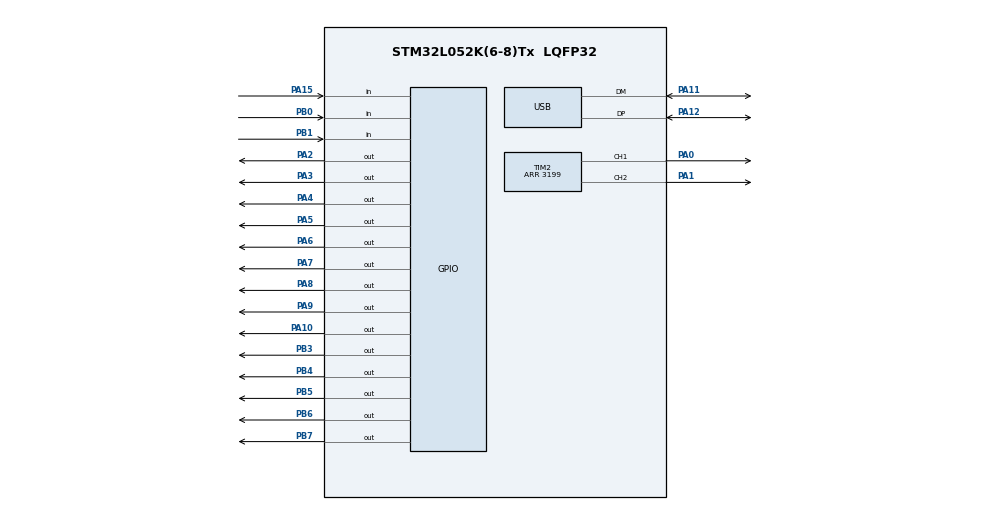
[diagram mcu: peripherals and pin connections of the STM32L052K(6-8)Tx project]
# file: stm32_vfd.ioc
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Mcu.Family=STM32L0
USB_DEVICE.CLASS_NAME_FS=CDC
NVIC.USB_IRQn=true\:0\:0\:false\:false\:true\:false\:true
VP_RTC_VS_RTC_Activate.Mode=RTC_Enabled
PA11.Mode=Device
TIM2.Channel-PWM\ Generation2\ CH2=TIM_CHANNEL_2
RCC.SYSCLKSource=RCC_SYSCLKSOURCE_PLLCLK
ProjectManager.StackSize=0x400
NVIC.RTC_IRQn=true\:0\:0\:false\:false\:true\:true\:true
RCC.HSI48MClockSelection=RCC_USBCLKSOURCE_HSI48
PA12.Signal=USB_DP
TIM21.Period=63991
RCC.PLLDIV=RCC_PLLDIV_3
RCC.HCLKFreq_Value=32000000
RCC.APB2TimFreq_Value=32000000
PB6.Signal=GPIO_Output
TIM21.Channel-Output\ Compare1\ No\ Output=TIM_CHANNEL_1
RCC.AHBFreq_Value=32000000
RCC.RTCClockSelection=RCC_RTCCLKSOURCE_LSE
RCC.PLLMUL=RCC_PLLMUL_6
PC14-OSC32_IN.Mode=LSE-External-Oscillator
RCC.RTCClockSelectionVirtual=RCC_RTCCLKSOURCE_LSE
PA14.Mode=Serial_Wire
PB7.Signal=GPIO_Output
PA8.Signal=GPIO_Output
TIM2.Channel-PWM\ Generation1\ CH1=TIM_CHANNEL_1
PA0.Signal=S_TIM2_CH1
Mcu.Package=LQFP32
PB1.Signal=GPIO_Input
PA6.Signal=GPIO_Output
PA10.Signal=GPIO_Output
VP_RTC_VS_RTC_Calendar.Mode=RTC_Calendar
PA15.Signal=GPIO_Input
TIM2.Pulse-PWM\ Generation2\ CH2=1600
RCC.APB1TimFreq_Value=32000000
RCC.HSI48_VALUE=48000000
PB4.Signal=GPIO_Output
PA3.Signal=GPIO_Output
RCC.MSI_VALUE=2097000
PC15-OSC32_OUT.Mode=LSE-External-Oscillator
SH.S_TIM2_CH1.0=TIM2_CH1,PWM Generation1 CH1
RTC.WakeUpClock=RTC_WAKEUPCLOCK_CK_SPRE_16BITS
USB_DEVICE.VirtualModeFS=Cdc_FS
PC14-OSC32_IN.Signal=RCC_OSC32_IN
TIM2.OCPolarity_2=TIM_OCPOLARITY_LOW
TIM2.Pulse-PWM\ Generation1\ CH1=1600
PA13.Signal=SYS_SWDIO
RCC.HSI16_VALUE=16000000
SH.S_TIM2_CH2.0=TIM2_CH2,PWM Generation2 CH2
ProjectManager.TargetToolchain=EWARM V8.32
VP_USB_DEVICE_VS_USB_DEVICE_CDC_FS.Mode=CDC_FS
PA9.Signal=GPIO_Output
PC15-OSC32_OUT.Signal=RCC_OSC32_OUT
PA1.Signal=S_TIM2_CH2
PA5.Signal=GPIO_Output
board=custom
RCC.VCOOutputFreq_Value=96000000
RCC.APB2Freq_Value=32000000
VP_TIM21_VS_ClockSourceINT.Mode=Internal
VP_TIM2_VS_ClockSourceINT.Mode=Internal
NVIC.TIM21_IRQn=true\:0\:0\:false\:false\:true\:true\:true
TIM2.Period=3199
PA13.Mode=Serial_Wire
Mcu.Name=STM32L052K(6-8)Tx
PA2.Signal=GPIO_Output
PB3.Signal=GPIO_Output
PA4.Signal=GPIO_Output
RCC.SYSCLKFreq_VALUE=32000000
PB5.Signal=GPIO_Output
PA12.Mode=Device
PA11.Signal=USB_DM
PA14.Signal=SYS_SWCLK
ProjectManager.HeapSize=0x200
VP_TIM21_VS_no_output1.Mode=Output Compare1 No Output
RCC.HSI_VALUE=16000000
VP_RTC_VS_RTC_WakeUp_intern.Mode=WakeUp
RCC.APB1Freq_Value=32000000
PB0.Signal=GPIO_Input
USB_DEVICE.VirtualMode=Cdc
PA7.Signal=GPIO_Output

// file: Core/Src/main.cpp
/* USER CODE BEGIN Header */
/**
 ******************************************************************************
 * @file           : main.c
 * @brief          : Main program body
 ******************************************************************************
 * @attention
 *
 * <h2><center>&copy; Copyright (c) 2023 STMicroelectronics.
 * All rights reserved.</center></h2>
 *
 * This software component is licensed by ST under BSD 3-Clause license,
 * the "License"; You may not use this file except in compliance with the
 * License. You may obtain a copy of the License at:
 *                        opensource.org/licenses/BSD-3-Clause
 *
 ******************************************************************************
 */
/* USER CODE END Header */
#include "main.h"
#include "usb_device.h"

/* USER CODE BEGIN Includes */
#include "rtc.h"
#include "usb.h"
#include "json.h"
// Bit encoding in rawdata

#define SEGA GPIO_PIN_2
#define SEGB GPIO_PIN_4
#define SEGC GPIO_PIN_7
#define SEGD GPIO_PIN_5
#define SEGE GPIO_PIN_8
#define SEGF GPIO_PIN_3
#define SEGG GPIO_PIN_9
#define SEGDP1 GPIO_PIN_10
#define SEGDP2 GPIO_PIN_6

#define NUM_SEGMENTS 9

uint16_t segments[NUM_SEGMENTS] = {SEGA, SEGB, SEGC,   SEGD,  SEGE,
                                   SEGF, SEGG, SEGDP1, SEGDP2};

#define GATE0 GPIO_PIN_3
#define GATE1 GPIO_PIN_4
#define GATE2 GPIO_PIN_5
#define GATE3 GPIO_PIN_6
#define GATE4 GPIO_PIN_7

#define NUM_GATES 5

uint16_t gates[NUM_GATES] = {GATE0, GATE1, GATE2, GATE3, GATE4};

// raw segment data definitions for numbers, cursor, dash and point
uint16_t digits[20] = {
    SEGA | SEGB | SEGC | SEGD | SEGE | SEGF,
    SEGB | SEGC,
    SEGA | SEGB | SEGG | SEGE | SEGD,
    SEGA | SEGB | SEGC | SEGD | SEGG,
    SEGF | SEGG | SEGB | SEGC,
    SEGA | SEGF | SEGG | SEGC | SEGD,
    SEGA | SEGF | SEGE | SEGD | SEGC | SEGG,
    SEGA | SEGB | SEGC,
    SEGA | SEGB | SEGC | SEGD | SEGE | SEGF | SEGG,
    SEGA | SEGB | SEGC | SEGD | SEGF | SEGG,
    SEGA | SEGB | SEGC | SEGE | SEGF | SEGG,        // 0xa
    SEGA | SEGB | SEGC | SEGD | SEGE | SEGF | SEGG, // 0xb
    SEGA | SEGB | SEGC | SEGD,                      // 0xc
    SEGA | SEGB | SEGC | SEGD | SEGE | SEGF,        // 0xd
    SEGA | SEGF | SEGE | SEGD | SEGG,               // 0xe
    SEGA | SEGF | SEGE | SEGG,                      // 0xf
    SEGD,                                           // cursor  0x10
    SEGG,                                           // dash 0x11
    0,                                              // empty 0x12
    SEGDP1 | SEGDP2,                                // h:m separator
};

// default display "  -  -  "
uint16_t display[5] = {2, 3, 19, 4, 5};
uint16_t rawdata[5];
uint32_t systick = 0;

extern control_t control;
/* USER CODE END Includes */

RTC_HandleTypeDef hrtc;

TIM_HandleTypeDef htim2;
TIM_HandleTypeDef htim21;

extern "C" void SystemClock_Config(void);
static void MX_GPIO_Init(void);
static void MX_RTC_Init(void);
static void MX_TIM2_Init(void);
static void MX_TIM21_Init(void);

/* USER CODE BEGIN 0 */

volatile uint8_t toggle = 0;
volatile int ctr = 0;
volatile int muxflag = 1;
volatile int trigger_second = 0;

void HAL_TIM_PeriodElapsedCallback(TIM_HandleTypeDef *htim) {
  if (htim == &htim21) {
    muxflag = 1;
  }
}

void HAL_RTCEx_WakeUpTimerEventCallback(RTC_HandleTypeDef *hrtc) {
  trigger_second = 1;
}

int filament_state = 1;

void filament_driver_enabled(int state) {
  if (state != filament_state) {
    if (state) {
      HAL_TIM_PWM_Start(&htim2, TIM_CHANNEL_1);
      HAL_TIM_PWM_Start(&htim2, TIM_CHANNEL_2);
    } else {
      HAL_TIM_PWM_Stop(&htim2, TIM_CHANNEL_1);
      HAL_TIM_PWM_Stop(&htim2, TIM_CHANNEL_2);
    }
  }
  filament_state = state;
}

extern USBD_HandleTypeDef hUsbDeviceFS;
/* USER CODE END 0 */

int main(void) {
  /* USER CODE BEGIN 1 */
  toggle = 0;
  /* USER CODE END 1 */

  /* MCU Configuration--------------------------------------------------------*/

  /* Reset of all peripherals, Initializes the Flash interface and the Systick.
   */
  HAL_Init();

  /* Configure the system clock */
  SystemClock_Config();

  /* Initialize all configured peripherals */
  MX_GPIO_Init();
  MX_RTC_Init();
  MX_TIM2_Init();
  MX_TIM21_Init();
  MX_USB_DEVICE_Init();

  /* Infinite loop */
  /* USER CODE BEGIN WHILE */
  int muxgate = 0;
  RTC_DateTypeDef date;
  RTC_TimeTypeDef time;
  // init_rtc();
  uint32_t ticks = 0;

  control.state = 1;
  control.hour_on = 0;
  control.minute_on = 0;
  control.hour_off = 0;
  control.minute_off = 0;

  while (1) {
    /* USER CODE END WHILE */

    /* USER CODE BEGIN 3 */

    if (trigger_second) {
      trigger_second = 0;
      ticks = systick;

      get_rtc(&date, &time);
      display[4] = time.Minutes % 10;
      display[3] = time.Minutes / 10;
      display[1] = time.Hours % 10;
      display[0] = time.Hours / 10;

      // power control
      if (!(control.hour_on == control.hour_off && control.minute_on == control.minute_off)) {
        if (time.Hours == control.hour_on && time.Minutes == control.minute_on) {
          control.state = 1;
        }
        if (time.Hours == control.hour_off && time.Minutes == control.minute_off) {
          control.state = 0;
        }
      }
      filament_driver_enabled(control.state);
    }

    if (systick - ticks > 500) {
      display[2] = 18;
    } else {
      display[2] = 19;
    }

    if (muxflag) {
      muxflag = 0;
      muxgate++;
      if (muxgate == NUM_GATES)
        muxgate = 0;

      for (int i = 0; i < NUM_GATES; i++) {
        rawdata[i] = digits[display[i]];
      }

      // mirror display
      // flipping segments b and c and reversing order should be enough
      uint16_t mirrored[5];
      for (int i = 0; i < NUM_GATES; i++) {
        uint16_t data = rawdata[NUM_GATES - 1 - i];

        mirrored[i] = data & ~(SEGB | SEGC | SEGE | SEGF);

        mirrored[i] |= ((data & SEGB) ? SEGF : 0) | ((data & SEGC) ? SEGE : 0) |
                       ((data & SEGE) ? SEGC : 0) | ((data & SEGF) ? SEGB : 0);
      }

      uint16_t gates_set =
          (GATE0 | GATE1 | GATE2 | GATE3 | GATE4) & ~gates[muxgate];
      uint16_t gates_reset = gates[muxgate];

      HAL_GPIO_WritePin(GPIOB, gates_set, GPIO_PIN_SET);
      HAL_GPIO_WritePin(GPIOB, gates_reset, GPIO_PIN_RESET);

      uint16_t segments_set = 0;
      uint16_t segments_reset = 0;

      for (int i = 0; i < NUM_SEGMENTS; i++) {
        if (!(mirrored[muxgate] & segments[i])) {
          segments_set |= segments[i];
        } else {
          segments_reset |= segments[i];
        }
      }
      HAL_GPIO_WritePin(GPIOA, segments_set, GPIO_PIN_SET);
      HAL_GPIO_WritePin(GPIOA, segments_reset, GPIO_PIN_RESET);
    }

    usb_loop();
  }
  /* USER CODE END 3 */
}

extern "C" void SystemClock_Config(void) {
  RCC_OscInitTypeDef RCC_OscInitStruct = {0};
  RCC_ClkInitTypeDef RCC_ClkInitStruct = {0};
  RCC_PeriphCLKInitTypeDef PeriphClkInit = {0};

  /** Configure the main internal regulator output voltage
   */
  __HAL_PWR_VOLTAGESCALING_CONFIG(PWR_REGULATOR_VOLTAGE_SCALE1);
  /** Configure LSE Drive Capability
   */
  HAL_PWR_EnableBkUpAccess();
  __HAL_RCC_LSEDRIVE_CONFIG(RCC_LSEDRIVE_LOW);
  /** Initializes the RCC Oscillators according to the specified parameters
   * in the RCC_OscInitTypeDef structure.
   */
  RCC_OscInitStruct.OscillatorType = RCC_OSCILLATORTYPE_HSI |
                                     RCC_OSCILLATORTYPE_LSE |
                                     RCC_OSCILLATORTYPE_HSI48;
  RCC_OscInitStruct.LSEState = RCC_LSE_ON;
  RCC_OscInitStruct.HSIState = RCC_HSI_ON;
  RCC_OscInitStruct.HSICalibrationValue = RCC_HSICALIBRATION_DEFAULT;
  RCC_OscInitStruct.HSI48State = RCC_HSI48_ON;
  RCC_OscInitStruct.PLL.PLLState = RCC_PLL_ON;
  RCC_OscInitStruct.PLL.PLLSource = RCC_PLLSOURCE_HSI;
  RCC_OscInitStruct.PLL.PLLMUL = RCC_PLLMUL_6;
  RCC_OscInitStruct.PLL.PLLDIV = RCC_PLLDIV_3;
  if (HAL_RCC_OscConfig(&RCC_OscInitStruct) != HAL_OK) {
    Error_Handler();
  }
  /** Initializes the CPU, AHB and APB buses clocks
   */
  RCC_ClkInitStruct.ClockType = RCC_CLOCKTYPE_HCLK | RCC_CLOCKTYPE_SYSCLK |
                                RCC_CLOCKTYPE_PCLK1 | RCC_CLOCKTYPE_PCLK2;
  RCC_ClkInitStruct.SYSCLKSource = RCC_SYSCLKSOURCE_PLLCLK;
  RCC_ClkInitStruct.AHBCLKDivider = RCC_SYSCLK_DIV1;
  RCC_ClkInitStruct.APB1CLKDivider = RCC_HCLK_DIV1;
  RCC_ClkInitStruct.APB2CLKDivider = RCC_HCLK_DIV1;

  if (HAL_RCC_ClockConfig(&RCC_ClkInitStruct, FLASH_LATENCY_1) != HAL_OK) {
    Error_Handler();
  }
  PeriphClkInit.PeriphClockSelection = RCC_PERIPHCLK_RTC | RCC_PERIPHCLK_USB;
  PeriphClkInit.RTCClockSelection = RCC_RTCCLKSOURCE_LSE;
  PeriphClkInit.UsbClockSelection = RCC_USBCLKSOURCE_HSI48;
  if (HAL_RCCEx_PeriphCLKConfig(&PeriphClkInit) != HAL_OK) {
    Error_Handler();
  }
}

static void MX_RTC_Init(void) {

  RTC_TimeTypeDef sTime = {0};
  RTC_DateTypeDef sDate = {0};

  /** Initialize RTC Only
   */
  hrtc.Instance = RTC;
  hrtc.Init.HourFormat = RTC_HOURFORMAT_24;
  hrtc.Init.AsynchPrediv = 127;
  hrtc.Init.SynchPrediv = 255;
  hrtc.Init.OutPut = RTC_OUTPUT_DISABLE;
  hrtc.Init.OutPutRemap = RTC_OUTPUT_REMAP_NONE;
  hrtc.Init.OutPutPolarity = RTC_OUTPUT_POLARITY_HIGH;
  hrtc.Init.OutPutType = RTC_OUTPUT_TYPE_OPENDRAIN;
  if (HAL_RTC_Init(&hrtc) != HAL_OK) {
    Error_Handler();
  }

  /** Initialize RTC and set the Time and Date
   */
  sTime.Hours = 0x0;
  sTime.Minutes = 0x0;
  sTime.Seconds = 0x0;
  sTime.DayLightSaving = RTC_DAYLIGHTSAVING_NONE;
  sTime.StoreOperation = RTC_STOREOPERATION_RESET;
  if (HAL_RTC_SetTime(&hrtc, &sTime, RTC_FORMAT_BIN) != HAL_OK) {
    Error_Handler();
  }
  sDate.WeekDay = RTC_WEEKDAY_MONDAY;
  sDate.Month = RTC_MONTH_JANUARY;
  sDate.Date = 0x1;
  sDate.Year = 0x0;

  if (HAL_RTC_SetDate(&hrtc, &sDate, RTC_FORMAT_BIN) != HAL_OK) {
    Error_Handler();
  }
  /** Enable the WakeUp
   */
  if (HAL_RTCEx_SetWakeUpTimer_IT(&hrtc, 0, RTC_WAKEUPCLOCK_CK_SPRE_16BITS) !=
      HAL_OK) {
    Error_Handler();
  }
  /* USER CODE BEGIN RTC_Init 2 */
  HAL_RTCEx_SetWakeUpTimer_IT(&hrtc, 0x0, RTC_WAKEUPCLOCK_CK_SPRE_16BITS);

  /* USER CODE END RTC_Init 2 */
}

static void MX_TIM2_Init(void) {

  TIM_ClockConfigTypeDef sClockSourceConfig = {0};
  TIM_MasterConfigTypeDef sMasterConfig = {0};
  TIM_OC_InitTypeDef sConfigOC = {0};

  htim2.Instance = TIM2;
  htim2.Init.Prescaler = 0;
  htim2.Init.CounterMode = TIM_COUNTERMODE_UP;
  htim2.Init.Period = 3199;
  htim2.Init.ClockDivision = TIM_CLOCKDIVISION_DIV1;
  htim2.Init.AutoReloadPreload = TIM_AUTORELOAD_PRELOAD_DISABLE;
  if (HAL_TIM_Base_Init(&htim2) != HAL_OK) {
    Error_Handler();
  }
  sClockSourceConfig.ClockSource = TIM_CLOCKSOURCE_INTERNAL;
  if (HAL_TIM_ConfigClockSource(&htim2, &sClockSourceConfig) != HAL_OK) {
    Error_Handler();
  }
  if (HAL_TIM_PWM_Init(&htim2) != HAL_OK) {
    Error_Handler();
  }
  sMasterConfig.MasterOutputTrigger = TIM_TRGO_RESET;
  sMasterConfig.MasterSlaveMode = TIM_MASTERSLAVEMODE_DISABLE;
  if (HAL_TIMEx_MasterConfigSynchronization(&htim2, &sMasterConfig) != HAL_OK) {
    Error_Handler();
  }
  sConfigOC.OCMode = TIM_OCMODE_PWM1;
  sConfigOC.Pulse = 1600;
  sConfigOC.OCPolarity = TIM_OCPOLARITY_HIGH;
  sConfigOC.OCFastMode = TIM_OCFAST_DISABLE;
  if (HAL_TIM_PWM_ConfigChannel(&htim2, &sConfigOC, TIM_CHANNEL_1) != HAL_OK) {
    Error_Handler();
  }
  sConfigOC.OCPolarity = TIM_OCPOLARITY_LOW;
  if (HAL_TIM_PWM_ConfigChannel(&htim2, &sConfigOC, TIM_CHANNEL_2) != HAL_OK) {
    Error_Handler();
  }
  /* USER CODE BEGIN TIM2_Init 2 */
  HAL_TIM_PWM_Start(&htim2, TIM_CHANNEL_1);
  HAL_TIM_PWM_Start(&htim2, TIM_CHANNEL_2);
  /* USER CODE END TIM2_Init 2 */
  HAL_TIM_MspPostInit(&htim2);
}

static void MX_TIM21_Init(void) {

  TIM_ClockConfigTypeDef sClockSourceConfig = {0};
  TIM_MasterConfigTypeDef sMasterConfig = {0};
  TIM_OC_InitTypeDef sConfigOC = {0};

  htim21.Instance = TIM21;
  htim21.Init.Prescaler = 0;
  htim21.Init.CounterMode = TIM_COUNTERMODE_UP;
  htim21.Init.Period = 63991;
  htim21.Init.ClockDivision = TIM_CLOCKDIVISION_DIV1;
  htim21.Init.AutoReloadPreload = TIM_AUTORELOAD_PRELOAD_DISABLE;
  if (HAL_TIM_Base_Init(&htim21) != HAL_OK) {
    Error_Handler();
  }
  sClockSourceConfig.ClockSource = TIM_CLOCKSOURCE_INTERNAL;
  if (HAL_TIM_ConfigClockSource(&htim21, &sClockSourceConfig) != HAL_OK) {
    Error_Handler();
  }
  if (HAL_TIM_OC_Init(&htim21) != HAL_OK) {
    Error_Handler();
  }
  sMasterConfig.MasterOutputTrigger = TIM_TRGO_RESET;
  sMasterConfig.MasterSlaveMode = TIM_MASTERSLAVEMODE_DISABLE;
  if (HAL_TIMEx_MasterConfigSynchronization(&htim21, &sMasterConfig) !=
      HAL_OK) {
    Error_Handler();
  }
  sConfigOC.OCMode = TIM_OCMODE_TIMING;
  sConfigOC.Pulse = 0;
  sConfigOC.OCPolarity = TIM_OCPOLARITY_HIGH;
  sConfigOC.OCFastMode = TIM_OCFAST_DISABLE;
  if (HAL_TIM_OC_ConfigChannel(&htim21, &sConfigOC, TIM_CHANNEL_1) != HAL_OK) {
    Error_Handler();
  }
  /* USER CODE BEGIN TIM21_Init 2 */
  HAL_TIM_Base_Start_IT(&htim21);
  /* USER CODE END TIM21_Init 2 */
}

static void MX_GPIO_Init(void) {
  GPIO_InitTypeDef GPIO_InitStruct = {0};

  /* GPIO Ports Clock Enable */
  __HAL_RCC_GPIOC_CLK_ENABLE();
  __HAL_RCC_GPIOA_CLK_ENABLE();
  __HAL_RCC_GPIOB_CLK_ENABLE();

  /*Configure GPIO pin Output Level */
  HAL_GPIO_WritePin(GPIOA,
                    GPIO_PIN_2 | GPIO_PIN_3 | GPIO_PIN_4 | GPIO_PIN_5 |
                        GPIO_PIN_6 | GPIO_PIN_7 | GPIO_PIN_8 | GPIO_PIN_9 |
                        GPIO_PIN_10,
                    GPIO_PIN_RESET);

  /*Configure GPIO pin Output Level */
  HAL_GPIO_WritePin(
      GPIOB, GPIO_PIN_3 | GPIO_PIN_4 | GPIO_PIN_5 | GPIO_PIN_6 | GPIO_PIN_7,
      GPIO_PIN_RESET);

  /*Configure GPIO pins : PA2 PA3 PA4 PA5
                           PA6 PA7 PA8 PA9
                           PA10 */
  GPIO_InitStruct.Pin = GPIO_PIN_2 | GPIO_PIN_3 | GPIO_PIN_4 | GPIO_PIN_5 |
                        GPIO_PIN_6 | GPIO_PIN_7 | GPIO_PIN_8 | GPIO_PIN_9 |
                        GPIO_PIN_10;
  GPIO_InitStruct.Mode = GPIO_MODE_OUTPUT_PP;
  GPIO_InitStruct.Pull = GPIO_NOPULL;
  GPIO_InitStruct.Speed = GPIO_SPEED_FREQ_LOW;
  HAL_GPIO_Init(GPIOA, &GPIO_InitStruct);

  /*Configure GPIO pins : PB0 PB1 */
  GPIO_InitStruct.Pin = GPIO_PIN_0 | GPIO_PIN_1;
  GPIO_InitStruct.Mode = GPIO_MODE_INPUT;
  GPIO_InitStruct.Pull = GPIO_PULLUP;
  HAL_GPIO_Init(GPIOB, &GPIO_InitStruct);

  /*Configure GPIO pin : PA15 */
  GPIO_InitStruct.Pin = GPIO_PIN_15;
  GPIO_InitStruct.Mode = GPIO_MODE_INPUT;
  GPIO_InitStruct.Pull = GPIO_PULLUP;
  HAL_GPIO_Init(GPIOA, &GPIO_InitStruct);

  /*Configure GPIO pins : PB3 PB4 PB5 PB6
                           PB7 */
  GPIO_InitStruct.Pin =
      GPIO_PIN_3 | GPIO_PIN_4 | GPIO_PIN_5 | GPIO_PIN_6 | GPIO_PIN_7;
  GPIO_InitStruct.Mode = GPIO_MODE_OUTPUT_PP;
  GPIO_InitStruct.Pull = GPIO_NOPULL;
  GPIO_InitStruct.Speed = GPIO_SPEED_FREQ_LOW;
  HAL_GPIO_Init(GPIOB, &GPIO_InitStruct);
}

void Error_Handler(void) {
}

#ifdef USE_FULL_ASSERT
/**
 * @brief  Reports the name of the source file and the source line number
 *         where the assert_param error has occurred.
 * @param  file: pointer to the source file name
 * @param  line: assert_param error line source number
 * @retval None
 */
void assert_failed(uint8_t *file, uint32_t line) {
  /* USER CODE BEGIN 6 */
  /* User can add his own implementation to report the file name and line
     number, tex: printf("Wrong parameters value: file %s on line %d\r\n", file,
     line) */
  /* USER CODE END 6 */
}
#endif /* USE_FULL_ASSERT */

/************************ (C) COPYRIGHT STMicroelectronics *****END OF FILE****/
